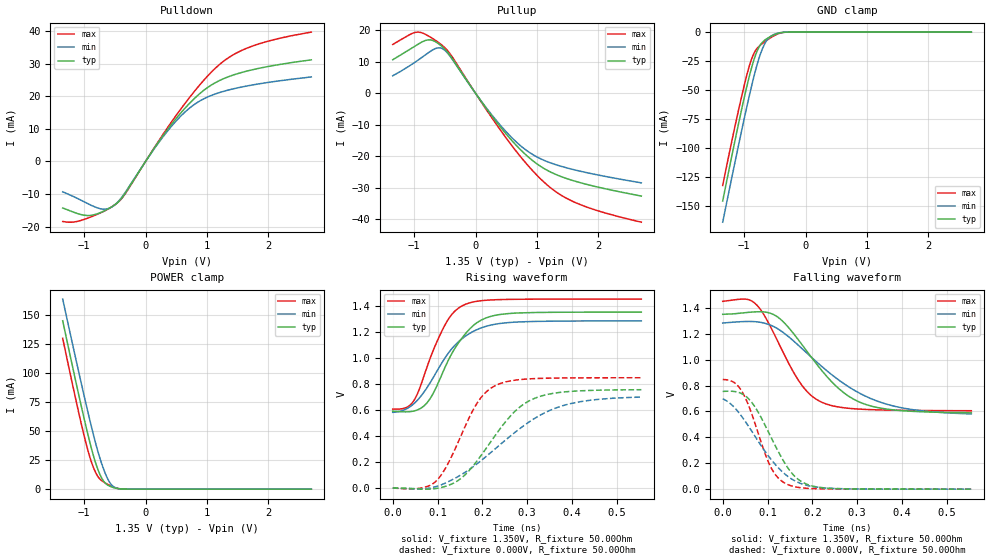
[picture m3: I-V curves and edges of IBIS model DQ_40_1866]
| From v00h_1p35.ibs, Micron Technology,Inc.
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| MODEL DQ_40_1866 (40 Ohm Data I/O with no ODT, 1866Mbps)
[Model]   DQ_40_1866
Model_type   I/O
Vinl = 545.000mV
Vinh = 805.000mV
Vmeas = 675.000mV
Vref = 675.000mV
Cref = 0.0pF
Rref = 25.000Ohm
|   typ   min   max
|C_comp   1.100pF   1.025pF   1.175pF
C_comp_pullup   0.5500pF   0.5125pF   0.5875pF
C_comp_pulldown   0.5500pF   0.5125pF   0.5875pF
[Model Spec]
| Input threshold voltage corners
Vinl   0.5450V   0.5115V   0.5825V
Vinh   0.8050V   0.7715V   0.8425V
| Measurement voltage corners
Vmeas   0.6750V   0.6415V   0.7125V
| Timing spec test load voltage corners
Vref   0.6750V   0.6415V   0.7125V
| Dynamic Overshoot Parameters from DDR3L Specification
|D_overshoot_ampl_h   0.40   NA   NA
|D_overshoot_ampl_l   0.40   NA   NA
|D_overshoot_area_h   0.11n   NA   NA
|D_overshoot_area_l   0.11n   NA   NA
[Receiver Thresholds]
Vth   =  0.675V
Vth_min  =  0.6615V
Vth_max  =  0.6885V
Vinh_ac  =  0.130V
Vinh_dc  =  0.090V
Vinl_ac  = -0.130V
Vinl_dc  = -0.090V
Tslew_ac =  5.000ns |Not specified, so set to high value
Threshold_sensitivity = 0.50
Reference_supply Pullup_ref
[Voltage Range]   1.3500V   1.2830V   1.4250V
[Pullup Reference]   1.3500V   1.2830V   1.4250V
| Junction Temperature (Ambient temp is 35C typ, 95C min, 0C max)
[Temperature Range]   50.0   110.0   0.0
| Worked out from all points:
|   slope of the pulldown table from 0 to 0.203 V, typ, clamps not added: 35.4 ohm
|   slope of the pullup table from 0 to 0.203 V, typ, clamps not added: 36.6 ohm
|   GND clamp passes 1 mA (typ) near -0.44 V on its own axis
|   POWER clamp passes 1 mA (typ) near -0.50 V on its own axis
|   falling waveform, V_fixture 1.350V, R_fixture 50.00Ohm: 20-80 % time 113ps typ, 158ps min, 80.4ps max; typ from 1.35 V to 0.589 V
|   rising waveform, V_fixture 1.350V, R_fixture 50.00Ohm: 20-80 % time 73.1ps typ, 86.9ps min, 60.5ps max; typ from 0.589 V to 1.35 V
|   rising waveform, V_fixture 0.000V, R_fixture 50.00Ohm: 20-80 % time 103ps typ, 159ps min, 72.9ps max; typ from 0 V to 0.755 V
|   falling waveform, V_fixture 0.000V, R_fixture 50.00Ohm: 20-80 % time 70.6ps typ, 88.4ps min, 53.4ps max; typ from 0.755 V to 0 V
[Pulldown]
|   Voltage   I(typ)   I(min)   I(max)
-1.35V    -14.3mA    -9.347mA   -18.45mA
-940mV    -16.65mA   -12.98mA   -17.41mA
-740mV    -15.76mA   -14.53mA   -15.85mA
-590mV    -14.39mA   -14.38mA   -14.4mA
-345mV    -10.14mA   -9.89mA    -10.32mA
140mV     4.007mA    3.841mA    4.154mA
460mV     12.29mA    11.61mA    13.11mA
730mV     18.08mA    16.56mA    19.94mA
1.005V    22.61mA    19.72mA    26.09mA
1.31V     25.7mA     21.71mA    31.3mA
1.635V    27.65mA    23.09mA    34.64mA
2.7V      31.17mA    25.92mA    39.69mA
[GND Clamp]
|   Voltage   I(typ)   I(min)   I(max)
-1.35V    -145.9mA   -164.2mA   -132.5mA
-1.21V    -109.2mA   -127.8mA   -96.32mA
-1.08V    -76.15mA   -94.69mA   -64.51mA
-980mV    -52.18mA   -70.05mA   -41.89mA
-900mV    -34.79mA   -51.26mA   -26.51mA
-820mV    -20.6mA    -33.99mA   -16.33mA
-730mV    -10.55mA   -18.13mA   -10.98mA
-655mV    -6.559mA   -9.106mA   -7.964mA
-575mV    -3.962mA   -3.912mA   -5.074mA
-470mV    -1.479mA   -1.183mA   -1.987mA
-330mV    -103.8uA   -97.16uA   -126.9uA
2.7V      0A         0A         0A
[Pullup]
|   Voltage   I(typ)   I(min)   I(max)
-1.35V    10.66mA    5.581mA    15.51mA
-935mV    15.62mA    10.58mA    19.46mA
-730mV    16.96mA    13.42mA    17.78mA
-540mV    14.77mA    14.21mA    15.18mA
-405mV    11.73mA    11.5mA     12.28mA
150mV     -4.134mA   -3.976mA   -4.437mA
485mV     -12.6mA    -11.92mA   -13.82mA
825mV     -19.62mA   -18.05mA   -22.27mA
1.145V    -24.2mA    -21.5mA    -28.72mA
1.39V     -26.4mA    -23.14mA   -32.3mA
1.645V    -28.03mA   -24.45mA   -34.85mA
2.7V      -32.61mA   -28.42mA   -40.91mA
[POWER Clamp]
|   Voltage   I(typ)   I(min)   I(max)
-1.35V    145mA      163.7mA    129.9mA
-1.175V   102mA      121.3mA    86.46mA
-1.05V    72.12mA    91.74mA    56.89mA
-960mV    51.56mA    71.02mA    37.44mA
-885mV    35.64mA    54.4mA     23.85mA
-795mV    19.66mA    35.93mA    12.48mA
-710mV    9.111mA    21.19mA    7.162mA
-610mV    3.316mA    8.179mA    3.921mA
-525mV    1.394mA    2.274mA    1.814mA
-445mV    434.5uA    531.8uA    556.5uA
-280mV    9.752uA    16.13uA    7.687uA
2.7V      0A         0A         0A
[Ramp]
R_load = 50.00Ohm
|   typ   min   max
dV/dt_r   452.717mV/102.775ps 418.895mV/159.028ps 507.787mV/72.846ps
dV/dt_f   456.361mV/112.552ps 421.338mV/158.104ps 506.628mV/80.403ps
[Falling Waveform]
V_fixture = 1.350V
V_fixture_min = 1.283V
V_fixture_max = 1.450V
R_fixture = 50.00Ohm
|   Time   V(typ)   V(min)   V(max)
0s        1.35V      1.283V     1.45V
52ps      1.363V     1.295V     1.467V
76ps      1.369V     1.292V     1.422V
133ps     1.3V       1.215V     1.07V
177ps     1.116V     1.085V     801.1mV
222ps     912.4mV    945.1mV    669.9mV
271ps     742.8mV    813.5mV    628.3mV
327ps     645.8mV    705mV      614.5mV
419ps     601.9mV    616.7mV    607.9mV
555ps     589.4mV    580.8mV    605.6mV
[Rising Waveform]
V_fixture = 1.350V
V_fixture_min = 1.283V
V_fixture_max = 1.450V
R_fixture = 50.00Ohm
|   Time   V(typ)   V(min)   V(max)
0s        589.4mV    580.8mV    605.6mV
42ps      587.7mV    632.5mV    647mV
56ps      600.8mV    677mV      730.1mV
73ps      640.6mV    751.8mV    892.3mV
92ps      737mV      856.8mV    1.069V
120ps     950.2mV    1.015V     1.272V
160ps     1.174V     1.16V      1.406V
197ps     1.287V     1.228V     1.437V
243ps     1.333V     1.264V     1.446V
555ps     1.35V      1.283V     1.45V
[Rising Waveform]
V_fixture = 0.000V
V_fixture_min = 0.000V
V_fixture_max = 0.000V
R_fixture = 50.00Ohm
|   Time   V(typ)   V(min)   V(max)
0s        -19.96uV   -20.9uV    -18.47uV
60ps      -6.557mV   -7.808mV   -1.845mV
98ps      -2.698mV   12.94mV    57.32mV
144ps     53.49mV    84.62mV    335.8mV
188ps     207mV      185.2mV    649.4mV
233ps     423.4mV    313.3mV    792.1mV
284ps     622mV      456.6mV    832.1mV
333ps     707.6mV    566.2mV    841.7mV
418ps     745.9mV    662.2mV    845.5mV
555ps     754.5mV    698.1mV    846.3mV
[Falling Waveform]
V_fixture = 0.000V
V_fixture_min = 0.000V
V_fixture_max = 0.000V
R_fixture = 50.00Ohm
|   Time   V(typ)   V(min)   V(max)
0s        754.5mV    698.1mV    846.3mV
33ps      749.5mV    603.6mV    801.4mV
47ps      728.4mV    539.7mV    729.1mV
62ps      681.7mV    462.6mV    607.8mV
106ps     413.8mV    238.4mV    179.4mV
123ps     297.8mV    169.1mV    90.01mV
145ps     166.5mV    99.64mV    35.89mV
175ps     60.36mV    42.94mV    10.73mV
217ps     13.54mV    12.57mV    2.58mV
555ps     -19.96uV   -20.9uV    -18.47uV
